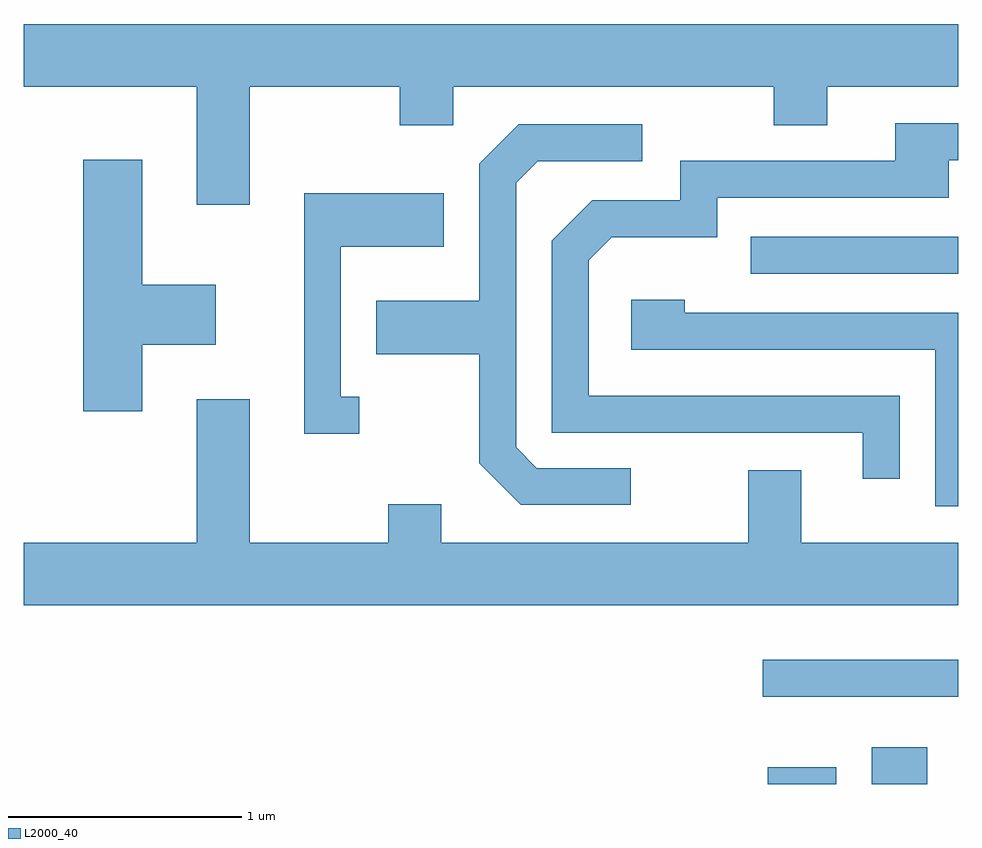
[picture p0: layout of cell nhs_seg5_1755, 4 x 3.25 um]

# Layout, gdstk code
import gdstk
lib = gdstk.Library(unit=1e-6, precision=1e-09)
def R(c, l, rs):  # rectangles x0, y0, x1, y1
    for r in rs: c.add(gdstk.rectangle(r[:2], r[2:], *l))
def P(c, l, *ps):  # polygons
    for p in ps: c.add(gdstk.Polygon(p, *l))
L2000_40 = (2000, 40)

nhs_seg5_1755 = lib.new_cell('nhs_seg5_1755')
R(nhs_seg5_1755, L2000_40, [(240.796,1416.072,241.089,1416.144), (241.241,1416.072,241.478,1416.229), (240.773,1416.446,241.611,1416.604), (240.723,1418.256,241.611,1418.414)])
P(nhs_seg5_1755, L2000_40, [(238.579,1419.056),(239.221,1419.056),(239.221,1418.891),(239.449,1418.891),(239.449,1419.056),(240.821,1419.056),(240.821,1418.891),(241.049,1418.891),(241.049,1419.056),(241.611,1419.056),(241.611,1419.324),(237.611,1419.324),(237.611,1419.056),(238.351,1419.056),(238.351,1418.551),(238.579,1418.551)],
  [(241.359,1417.734),(240.029,1417.734),(240.029,1418.314),(240.127,1418.411),(240.579,1418.411),(240.579,1418.581),(241.569,1418.581),(241.569,1418.741),(241.611,1418.741),(241.611,1418.899),(241.341,1418.899),(241.341,1418.739),(240.421,1418.739),(240.421,1418.569),(240.044,1418.569),(239.871,1418.397),(239.871,1417.576),(241.201,1417.576),(241.201,1417.378),(241.359,1417.378)],
  [(240.208,1417.424),(239.807,1417.424),(239.719,1417.512),(239.719,1418.644),(239.812,1418.736),(240.258,1418.736),(240.258,1418.894),(239.729,1418.894),(239.561,1418.727),(239.561,1418.139),(239.121,1418.139),(239.121,1417.911),(239.561,1417.911),(239.561,1417.444),(239.739,1417.266),(240.208,1417.266)],
  [(238.119,1417.951),(238.434,1417.951),(238.434,1418.209),(238.119,1418.209),(238.119,1418.744),(237.866,1418.744),(237.866,1417.666),(238.119,1417.666)],
  [(239.048,1417.729),(238.969,1417.729),(238.969,1418.371),(239.409,1418.371),(239.409,1418.599),(238.811,1418.599),(238.811,1417.571),(239.048,1417.571)],
  [(241.611,1418.089),(240.439,1418.089),(240.439,1418.144),(240.211,1418.144),(240.211,1417.931),(241.511,1417.931),(241.511,1417.261),(241.611,1417.261)],
  [(241.611,1417.104),(240.939,1417.104),(240.939,1417.414),(240.711,1417.414),(240.711,1417.104),(239.399,1417.104),(239.399,1417.269),(239.171,1417.269),(239.171,1417.104),(238.579,1417.104),(238.579,1417.719),(238.351,1417.719),(238.351,1417.104),(237.611,1417.104),(237.611,1416.836),(241.611,1416.836)])

lib.write_gds('nhs_seg5_1755.gds')
